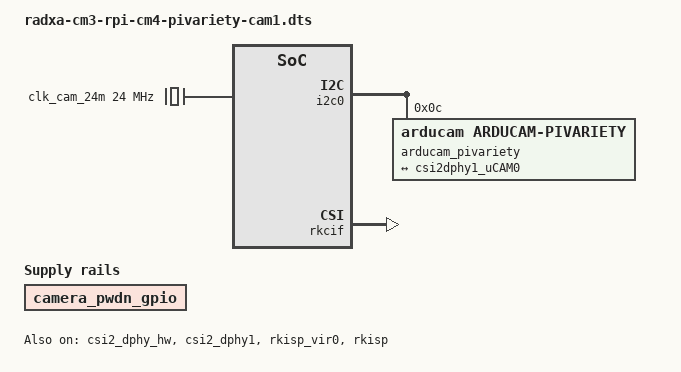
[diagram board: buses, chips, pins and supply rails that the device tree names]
/*
 * Copyright (C) 2024 Raphael from OpenHD
 *
 * This is free software: you can redistribute it and/or modify
 * it under the terms of the GNU General Public License as published by
 * the Free Software Foundation, either version 3 of the License, or
 * (at your option) any later version.
 *
 * This is distributed in the hope that it will be useful,
 * but WITHOUT ANY WARRANTY; without even the implied warranty of
 * MERCHANTABILITY or FITNESS FOR A PARTICULAR PURPOSE. See the
 * GNU General Public License for more details.
 *
 */

/dts-v1/;
/plugin/;

#include <dt-bindings/gpio/gpio.h>
#include <dt-bindings/pinctrl/rockchip.h>
#include <dt-bindings/power/rk3568-power.h>


/ {
	metadata {
		title = "Enable Arducam Pivariety on Radxa CM3 Cam1";
		compatible = "radxa,cm3-rpi-cm4-io";
		category = "camera";
		exclusive = "csi2_dphy1";
		description = "Enable Arducam Pivariety on Radxa CM3 Cam1";
	};

	fragment@0 {
		target-path = "/";

		__overlay__ {
			clk_cam_24m: external-camera-clock-24m {
				status = "okay";
				compatible = "fixed-clock";
				clock-frequency = <24000000>;
				clock-output-names = "clk_cam_24m";
				#clock-cells = <0>;
			};

			camera_pwdn_gpio: camera-pwdn-gpio {
				status = "okay";
				compatible = "regulator-fixed";
				regulator-name = "camera_pwdn_gpio";
				regulator-always-on;
				regulator-boot-on;
				enable-active-high;
				pwdn-gpios = <&gpio4 RK_PC1 GPIO_ACTIVE_HIGH>;
				pinctrl-names = "default";
				pinctrl-0 = <&cam_pwdn_gpio>;
			};
		};
	};

	fragment@1 {
		target = <&i2c0>;
		clock-frequency = <10000>;
		#address-cells = <1>;
		#size-cells = <0>;

		__overlay__ {
			status = "okay";
			pinctrl-names = "default";
			pinctrl-0 = <&i2c0m1_xfer>;
			#address-cells = <1>;
			#size-cells = <0>;

			arducam_pivariety: arducam-pivariety@c {
				compatible = "arducam,arducam-pivariety";
				reg = <0x0c>;
				clocks = <&clk_cam_24m>;
				clock-names = "xclk";
				rockchip,camera-module-index = <0>;
				rockchip,camera-module-facing = "back";
				rockchip,camera-module-name = "IMX462";
				rockchip,camera-module-lens-name = "default";

				port {
					pivariety_out0: endpoint {
						remote-endpoint = <&csi2dphy1_uCAM0>;
						data-lanes = <1 2>;
					};
				};
			};
		};
	};

	fragment@2 {
		target = <&csi2_dphy_hw>;

		__overlay__ {
			status = "okay";
		};
	};

	fragment@3 {
		target = <&csi2_dphy1>;

		__overlay__ {
			status = "okay";

			ports {
				#address-cells = <1>;
				#size-cells = <0>;

				port@0 {
					reg = <0>;
					#address-cells = <1>;
					#size-cells = <0>;

					mipi_in_ucam0: endpoint@1 {
						reg = <1>;
						remote-endpoint = <&pivariety_out0>;
						data-lanes = <1 2>;
					};
				};

				port@1 {
					reg = <1>;
					#address-cells = <1>;
					#size-cells = <0>;

					csi2dphy1_out: endpoint@1 {
						reg = <1>;
						remote-endpoint = <&isp0_in>;
					};
				};
			};
		};
	};

	fragment@4 {
		target = <&rkisp_vir0>;

		__overlay__ {
			status = "okay";

			port {
				#address-cells = <1>;
				#size-cells = <0>;

				isp0_in: endpoint@0 {
					reg = <0>;
					remote-endpoint = <&csi2dphy1_out>;
				};
			};
		};
	};

	fragment@5 {
		target = <&rkisp>;

		__overlay__ {
			status = "okay";
		};
	};

	fragment@6 {
		target = <&rkisp_mmu>;

		__overlay__ {
			status = "okay";
		};
	};

	fragment@7 {
		target = <&rkcif_mmu>;

		__overlay__ {
			status = "okay";
		};
	};

	fragment@8 {
		target = <&rkcif>;

		__overlay__ {
			status = "okay";
		};
	};
	fragment@9 {
		target = <&pinctrl>;

		__overlay__ {
			camera {
				cam_pwdn_gpio: cam-pwdn-gpio {
					rockchip,pins = <4 RK_PC1 RK_FUNC_GPIO &pcfg_pull_up>;
				};
			};
		};
	};
};
